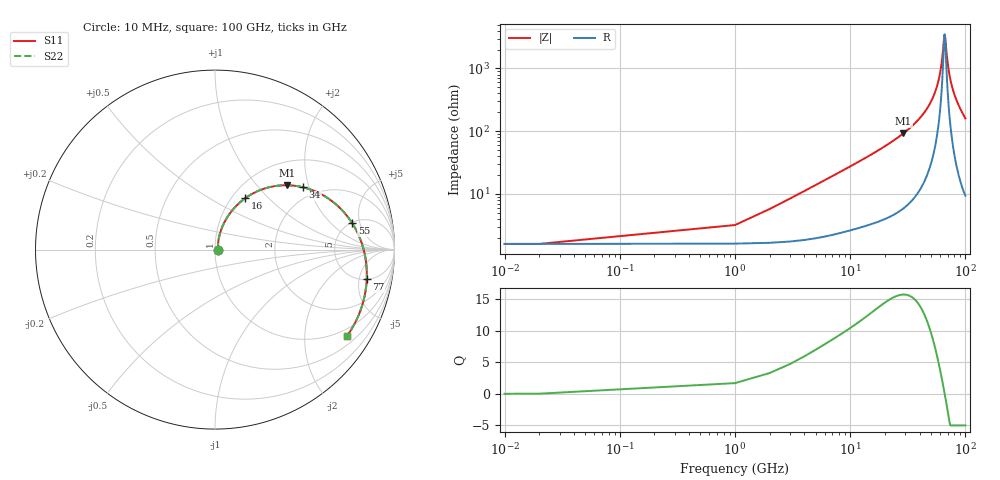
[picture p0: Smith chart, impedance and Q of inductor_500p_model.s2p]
! Inductor model fitted by inductor_fit.py from inductor_500p.s2p
#  Hz  S  RI  R  50
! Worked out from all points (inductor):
!   102 points, 10 MHz to 100 GHz, reference 50 ohm
!   read as 1/Y11, port 2 shorted: L = 436 pH near 2 GHz
!   highest Q = 15.7 at 29 GHz (marker M1), where L = 507 pH
!   self-resonance near 66 GHz
!   S11 on the Smith chart (normalised r, x): 10 MHz: 1.03, +0.00; 16 GHz: 1.15, +0.74; 34 GHz: 1.68, +1.83; 55 GHz: 5.10, +3.81; 77 GHz: 5.04, -6.45; 100 GHz: 0.76, -3.21
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1e7  0.0157 0.000219  0.9843 -0.000314  0.9843 -0.000314  0.0157 0.000219
2e9  0.0183 0.044  0.9799 -0.062  0.9799 -0.062  0.0183 0.044
3e9  0.0218 0.066  0.975 -0.0919  0.975 -0.0919  0.0218 0.066
4e9  0.0269 0.0876  0.9685 -0.121  0.9685 -0.121  0.0269 0.0876
5e9  0.0335 0.1086  0.9609 -0.1492  0.9609 -0.1492  0.0335 0.1086
7e9  0.0504 0.1485  0.9422 -0.2034  0.9422 -0.2034  0.0504 0.1485
9e9  0.0714 0.1852  0.9196 -0.2543  0.9196 -0.2543  0.0714 0.1852
1.2e10  0.1094 0.234  0.8794 -0.3247  0.8794 -0.3247  0.1094 0.234
1.6e10  0.1695 0.2871  0.8158 -0.407  0.8158 -0.407  0.1695 0.2871
1.7e10  0.1858 0.2981  0.7984 -0.4254  0.7984 -0.4254  0.1858 0.2981
2.3e10  0.2915 0.3448  0.6856 -0.5165  0.6856 -0.5165  0.2915 0.3448
2.9e10  0.402 0.3585  0.5658 -0.5753  0.5658 -0.5753  0.402 0.3585
3.4e10  0.4909 0.3471  0.4673 -0.6021  0.4673 -0.6021  0.4909 0.3471
4.2e10  0.6172 0.294  0.3216 -0.6113  0.3216 -0.6113  0.6172 0.294
5.1e10  0.7272 0.1979  0.183 -0.5874  0.183 -0.5874  0.7272 0.1979
5.5e10  0.7643 0.1472  0.1306 -0.5696  0.1306 -0.5696  0.7643 0.1472
6.1e10  0.8064 0.0656  0.0618 -0.5384  0.0618 -0.5384  0.8064 0.0656
6.7e10  0.833 -0.02  0.00349 -0.5045  0.00349 -0.5045  0.833 -0.02
7.7e10  0.8454 -0.1652  -0.0756 -0.4481  -0.0756 -0.4481  0.8454 -0.1652
8.4e10  0.832 -0.2655  -0.122 -0.4117  -0.122 -0.4117  0.832 -0.2655
9.2e10  0.7957 -0.376  -0.1714 -0.3743  -0.1714 -0.3743  0.7957 -0.376
1e11  0.7368 -0.4794  -0.2221 -0.3413  -0.2221 -0.3413  0.7368 -0.4794
